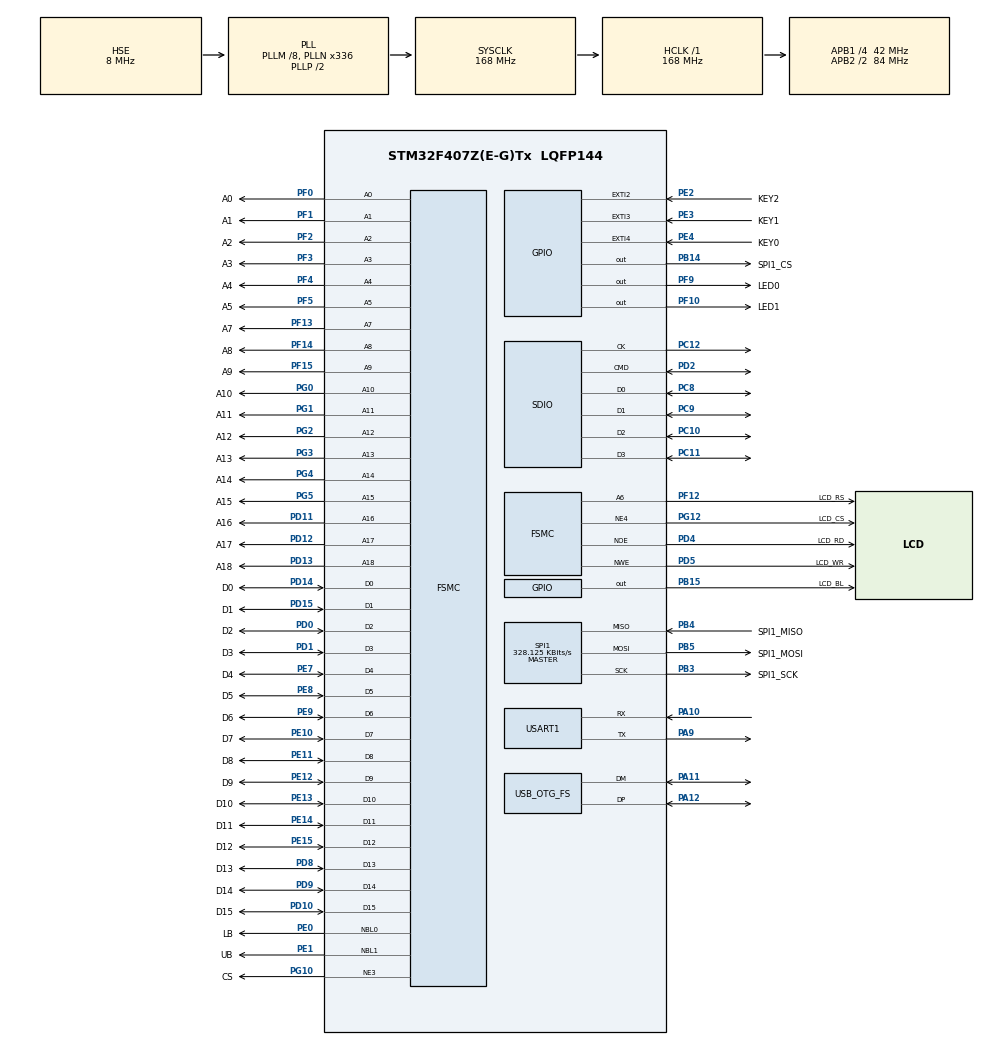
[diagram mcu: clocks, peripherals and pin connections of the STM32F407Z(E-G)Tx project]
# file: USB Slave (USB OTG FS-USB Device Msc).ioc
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Dma.Request0=SDIO_RX
Dma.Request1=SDIO_TX
Dma.SDIO_RX.0.Direction=DMA_PERIPH_TO_MEMORY
Dma.SDIO_RX.0.FIFOMode=DMA_FIFOMODE_ENABLE
Dma.SDIO_RX.0.FIFOThreshold=DMA_FIFO_THRESHOLD_FULL
Dma.SDIO_RX.0.Instance=DMA2_Stream3
Dma.SDIO_RX.0.MemBurst=DMA_MBURST_INC4
Dma.SDIO_RX.0.MemDataAlignment=DMA_MDATAALIGN_BYTE
Dma.SDIO_RX.0.MemInc=DMA_MINC_ENABLE
Dma.SDIO_RX.0.Mode=DMA_PFCTRL
Dma.SDIO_RX.0.PeriphBurst=DMA_PBURST_INC4
Dma.SDIO_RX.0.PeriphDataAlignment=DMA_PDATAALIGN_WORD
Dma.SDIO_RX.0.PeriphInc=DMA_PINC_DISABLE
Dma.SDIO_RX.0.Priority=DMA_PRIORITY_LOW
Dma.SDIO_TX.1.Direction=DMA_MEMORY_TO_PERIPH
Dma.SDIO_TX.1.FIFOMode=DMA_FIFOMODE_ENABLE
Dma.SDIO_TX.1.FIFOThreshold=DMA_FIFO_THRESHOLD_FULL
Dma.SDIO_TX.1.Instance=DMA2_Stream6
Dma.SDIO_TX.1.MemBurst=DMA_MBURST_INC4
Dma.SDIO_TX.1.MemDataAlignment=DMA_MDATAALIGN_BYTE
Dma.SDIO_TX.1.MemInc=DMA_MINC_ENABLE
Dma.SDIO_TX.1.Mode=DMA_PFCTRL
Dma.SDIO_TX.1.PeriphBurst=DMA_PBURST_INC4
Dma.SDIO_TX.1.PeriphDataAlignment=DMA_PDATAALIGN_WORD
Dma.SDIO_TX.1.PeriphInc=DMA_PINC_DISABLE
Dma.SDIO_TX.1.Priority=DMA_PRIORITY_LOW
FSMC.DataSetupTime2=60
FSMC.ExtendedAddressSetupTime2=9
FSMC.ExtendedDataSetupTime2=9
FSMC.ExtendedMode2=FSMC_EXTENDED_MODE_ENABLE
Mcu.Family=STM32F4
Mcu.Name=STM32F407Z(E-G)Tx
Mcu.Package=LQFP144
NVIC.DMA2_Stream3_IRQn=true\:2\:0\:true\:false\:true\:false\:true
NVIC.DMA2_Stream6_IRQn=true\:2\:0\:true\:false\:true\:false\:true
NVIC.EXTI2_IRQn=true\:3\:1\:true\:false\:true\:true\:true
NVIC.EXTI3_IRQn=true\:3\:1\:true\:false\:true\:true\:true
NVIC.EXTI4_IRQn=true\:3\:1\:true\:false\:true\:true\:true
NVIC.OTG_FS_IRQn=true\:3\:0\:true\:false\:true\:true\:true
NVIC.PriorityGroup=NVIC_PRIORITYGROUP_2
NVIC.SDIO_IRQn=true\:1\:0\:true\:false\:true\:true\:true
PA10.Mode=Asynchronous
PA10.Signal=USART1_RX
PA11.Mode=Device_Only
PA11.Signal=USB_OTG_FS_DM
PA12.Mode=Device_Only
PA12.Signal=USB_OTG_FS_DP
PA13.Mode=Serial_Wire
PA13.Signal=SYS_JTMS-SWDIO
PA14.Mode=Serial_Wire
PA14.Signal=SYS_JTCK-SWCLK
PA9.Mode=Asynchronous
PA9.Signal=USART1_TX
PB14.GPIO_Label=SPI1_CS
PB14.GPIO_PuPd=GPIO_PULLUP
PB14.GPIO_Speed=GPIO_SPEED_FREQ_HIGH
PB14.PinState=GPIO_PIN_SET
PB14.Signal=GPIO_Output
PB15.GPIO_Label=LCD_BL
PB15.GPIO_PuPd=GPIO_PULLDOWN
PB15.GPIO_Speed=GPIO_SPEED_FREQ_HIGH
PB15.PinState=GPIO_PIN_SET
PB15.Signal=GPIO_Output
PB3.GPIO_Label=SPI1_SCK
PB3.GPIO_PuPd=GPIO_PULLUP
PB3.Mode=Full_Duplex_Master
PB3.Signal=SPI1_SCK
PB4.GPIO_Label=SPI1_MISO
PB4.GPIO_PuPd=GPIO_PULLUP
PB4.Mode=Full_Duplex_Master
PB4.Signal=SPI1_MISO
PB5.GPIO_Label=SPI1_MOSI
PB5.GPIO_PuPd=GPIO_PULLUP
PB5.Mode=Full_Duplex_Master
PB5.Signal=SPI1_MOSI
PC10.Mode=SD_4_bits_Wide_bus
PC10.Signal=SDIO_D2
PC11.Mode=SD_4_bits_Wide_bus
PC11.Signal=SDIO_D3
PC12.Mode=SD_4_bits_Wide_bus
PC12.Signal=SDIO_CK
PC8.Mode=SD_4_bits_Wide_bus
PC8.Signal=SDIO_D0
PC9.Mode=SD_4_bits_Wide_bus
PC9.Signal=SDIO_D1
PD0.GPIO_Label=D2
PD0.GPIO_PuPd=GPIO_PULLUP
PD0.Signal=FSMC_D2_DA2
PD1.GPIO_Label=D3
PD1.GPIO_PuPd=GPIO_PULLUP
PD1.Signal=FSMC_D3_DA3
PD10.GPIO_Label=D15
PD10.GPIO_PuPd=GPIO_PULLUP
PD10.Signal=FSMC_D15_DA15
PD11.GPIO_Label=A16
PD11.GPIO_PuPd=GPIO_PULLUP
PD11.Signal=FSMC_A16_CLE
PD12.GPIO_Label=A17
PD12.GPIO_PuPd=GPIO_PULLUP
PD12.Signal=FSMC_A17_ALE
PD13.GPIO_Label=A18
PD13.GPIO_PuPd=GPIO_PULLUP
PD13.Signal=FSMC_A18
PD14.GPIO_Label=D0
PD14.GPIO_PuPd=GPIO_PULLUP
PD14.Signal=FSMC_D0_DA0
PD15.GPIO_Label=D1
PD15.GPIO_PuPd=GPIO_PULLUP
PD15.Signal=FSMC_D1_DA1
PD2.Mode=SD_4_bits_Wide_bus
PD2.Signal=SDIO_CMD
PD4.GPIO_Label=LCD_RD
PD4.GPIO_PuPd=GPIO_PULLUP
PD4.Signal=FSMC_NOE
PD5.GPIO_Label=LCD_WR
PD5.GPIO_PuPd=GPIO_PULLUP
PD5.Signal=FSMC_NWE
PD8.GPIO_Label=D13
PD8.GPIO_PuPd=GPIO_PULLUP
PD8.Signal=FSMC_D13_DA13
PD9.GPIO_Label=D14
PD9.GPIO_PuPd=GPIO_PULLUP
PD9.Signal=FSMC_D14_DA14
PE0.GPIO_Label=LB
PE0.GPIO_PuPd=GPIO_PULLUP
PE0.Signal=FSMC_NBL0
PE1.GPIO_Label=UB
PE1.GPIO_PuPd=GPIO_PULLUP
PE1.Signal=FSMC_NBL1
PE10.GPIO_Label=D7
PE10.GPIO_PuPd=GPIO_PULLUP
PE10.Signal=FSMC_D7_DA7
PE11.GPIO_Label=D8
PE11.GPIO_PuPd=GPIO_PULLUP
PE11.Signal=FSMC_D8_DA8
PE12.GPIO_Label=D9
PE12.GPIO_PuPd=GPIO_PULLUP
PE12.Signal=FSMC_D9_DA9
PE13.GPIO_Label=D10
PE13.GPIO_PuPd=GPIO_PULLUP
PE13.Signal=FSMC_D10_DA10
PE14.GPIO_Label=D11
PE14.GPIO_PuPd=GPIO_PULLUP
PE14.Signal=FSMC_D11_DA11
PE15.GPIO_Label=D12
PE15.GPIO_PuPd=GPIO_PULLUP
PE15.Signal=FSMC_D12_DA12
PE2.GPIO_Label=KEY2
PE2.GPIO_ModeDefaultEXTI=GPIO_MODE_IT_FALLING
PE2.GPIO_PuPd=GPIO_PULLUP
PE2.Signal=GPXTI2
PE3.GPIO_Label=KEY1
PE3.GPIO_ModeDefaultEXTI=GPIO_MODE_IT_FALLING
PE3.GPIO_PuPd=GPIO_PULLUP
PE3.Signal=GPXTI3
PE4.GPIO_Label=KEY0
PE4.GPIO_ModeDefaultEXTI=GPIO_MODE_IT_FALLING
PE4.GPIO_PuPd=GPIO_PULLUP
PE4.Signal=GPXTI4
PE7.GPIO_Label=D4
PE7.GPIO_PuPd=GPIO_PULLUP
PE7.Signal=FSMC_D4_DA4
PE8.GPIO_Label=D5
PE8.GPIO_PuPd=GPIO_PULLUP
PE8.Signal=FSMC_D5_DA5
PE9.GPIO_Label=D6
PE9.GPIO_PuPd=GPIO_PULLUP
PE9.Signal=FSMC_D6_DA6
PF0.GPIO_Label=A0
PF0.GPIO_PuPd=GPIO_PULLUP
PF0.Signal=FSMC_A0
PF1.GPIO_Label=A1
PF1.GPIO_PuPd=GPIO_PULLUP
PF1.Signal=FSMC_A1
PF10.GPIO_Label=LED1
PF10.GPIO_PuPd=GPIO_PULLUP
PF10.GPIO_Speed=GPIO_SPEED_FREQ_HIGH
PF10.PinState=GPIO_PIN_SET
PF10.Signal=GPIO_Output
PF12.GPIO_Label=LCD_RS
PF12.GPIO_PuPd=GPIO_PULLUP
PF12.Signal=FSMC_A6
PF13.GPIO_Label=A7
PF13.GPIO_PuPd=GPIO_PULLUP
PF13.Signal=FSMC_A7
PF14.GPIO_Label=A8
PF14.GPIO_PuPd=GPIO_PULLUP
PF14.Signal=FSMC_A8
PF15.GPIO_Label=A9
PF15.GPIO_PuPd=GPIO_PULLUP
PF15.Signal=FSMC_A9
PF2.GPIO_Label=A2
PF2.GPIO_PuPd=GPIO_PULLUP
PF2.Signal=FSMC_A2
PF3.GPIO_Label=A3
PF3.GPIO_PuPd=GPIO_PULLUP
PF3.Signal=FSMC_A3
PF4.GPIO_Label=A4
PF4.GPIO_PuPd=GPIO_PULLUP
PF4.Signal=FSMC_A4
PF5.GPIO_Label=A5
PF5.GPIO_PuPd=GPIO_PULLUP
PF5.Signal=FSMC_A5
PF9.GPIO_Label=LED0
PF9.GPIO_PuPd=GPIO_PULLUP
PF9.GPIO_Speed=GPIO_SPEED_FREQ_HIGH
PF9.PinState=GPIO_PIN_SET
PF9.Signal=GPIO_Output
PG0.GPIO_Label=A10
PG0.GPIO_PuPd=GPIO_PULLUP
PG0.Signal=FSMC_A10
PG1.GPIO_Label=A11
PG1.GPIO_PuPd=GPIO_PULLUP
PG1.Signal=FSMC_A11
PG10.GPIO_Label=CS
PG10.GPIO_PuPd=GPIO_PULLUP
PG10.Mode=NorPsramChipSelect3_1
PG10.Signal=FSMC_NE3
PG12.GPIO_Label=LCD_CS
PG12.GPIO_PuPd=GPIO_PULLUP
PG12.Mode=NorPsramChipSelect4_2
PG12.Signal=FSMC_NE4
PG2.GPIO_Label=A12
PG2.GPIO_PuPd=GPIO_PULLUP
PG2.Signal=FSMC_A12
PG3.GPIO_Label=A13
PG3.GPIO_PuPd=GPIO_PULLUP
PG3.Signal=FSMC_A13
PG4.GPIO_Label=A14
PG4.GPIO_PuPd=GPIO_PULLUP
PG4.Signal=FSMC_A14
PG5.GPIO_Label=A15
PG5.GPIO_PuPd=GPIO_PULLUP
PG5.Signal=FSMC_A15
PH0-OSC_IN.Mode=HSE-External-Oscillator
PH0-OSC_IN.Signal=RCC_OSC_IN
PH1-OSC_OUT.Mode=HSE-External-Oscillator
PH1-OSC_OUT.Signal=RCC_OSC_OUT
ProjectManager.HeapSize=0x200
ProjectManager.StackSize=0x400
ProjectManager.TargetToolchain=MDK-ARM V5
RCC.48MHZClocksFreq_Value=48000000
RCC.AHBFreq_Value=168000000
RCC.APB1CLKDivider=RCC_HCLK_DIV4
RCC.APB1Freq_Value=42000000
RCC.APB1TimFreq_Value=84000000
RCC.APB2CLKDivider=RCC_HCLK_DIV2
RCC.APB2Freq_Value=84000000
RCC.APB2TimFreq_Value=168000000
RCC.CortexFreq_Value=168000000
RCC.HCLKFreq_Value=168000000
RCC.HSE_VALUE=8000000
RCC.HSI_VALUE=16000000
RCC.LSE_VALUE=32768
RCC.PLLM=8
RCC.PLLN=336
RCC.PLLQ=7
RCC.SYSCLKFreq_VALUE=168000000
RCC.SYSCLKSource=RCC_SYSCLKSOURCE_PLLCLK
RCC.VCOOutputFreq_Value=336000000
SH.FSMC_A0.0=FSMC_A0,19b-a1
SH.FSMC_A1.0=FSMC_A1,19b-a1
SH.FSMC_A10.0=FSMC_A10,19b-a1
SH.FSMC_A11.0=FSMC_A11,19b-a1
SH.FSMC_A12.0=FSMC_A12,19b-a1
SH.FSMC_A13.0=FSMC_A13,19b-a1
SH.FSMC_A14.0=FSMC_A14,19b-a1
SH.FSMC_A15.0=FSMC_A15,19b-a1
SH.FSMC_A16_CLE.0=FSMC_A16,19b-a1
SH.FSMC_A17_ALE.0=FSMC_A17,19b-a1
SH.FSMC_A18.0=FSMC_A18,19b-a1
SH.FSMC_A2.0=FSMC_A2,19b-a1
SH.FSMC_A3.0=FSMC_A3,19b-a1
SH.FSMC_A4.0=FSMC_A4,19b-a1
SH.FSMC_A5.0=FSMC_A5,19b-a1
SH.FSMC_A6.0=FSMC_A6,A6_2
SH.FSMC_A6.1=FSMC_A6,19b-a1
SH.FSMC_A7.0=FSMC_A7,19b-a1
SH.FSMC_A8.0=FSMC_A8,19b-a1
SH.FSMC_A9.0=FSMC_A9,19b-a1
SH.FSMC_D0_DA0.0=FSMC_D0,16b-d2
SH.FSMC_D0_DA0.1=FSMC_D0,16b-d1
SH.FSMC_D10_DA10.0=FSMC_D10,16b-d2
SH.FSMC_D10_DA10.1=FSMC_D10,16b-d1
SH.FSMC_D11_DA11.0=FSMC_D11,16b-d2
SH.FSMC_D11_DA11.1=FSMC_D11,16b-d1
SH.FSMC_D12_DA12.0=FSMC_D12,16b-d2
SH.FSMC_D12_DA12.1=FSMC_D12,16b-d1
SH.FSMC_D13_DA13.0=FSMC_D13,16b-d2
SH.FSMC_D13_DA13.1=FSMC_D13,16b-d1
SH.FSMC_D14_DA14.0=FSMC_D14,16b-d2
SH.FSMC_D14_DA14.1=FSMC_D14,16b-d1
SH.FSMC_D15_DA15.0=FSMC_D15,16b-d2
SH.FSMC_D15_DA15.1=FSMC_D15,16b-d1
SH.FSMC_D1_DA1.0=FSMC_D1,16b-d2
SH.FSMC_D1_DA1.1=FSMC_D1,16b-d1
SH.FSMC_D2_DA2.0=FSMC_D2,16b-d2
SH.FSMC_D2_DA2.1=FSMC_D2,16b-d1
SH.FSMC_D3_DA3.0=FSMC_D3,16b-d2
SH.FSMC_D3_DA3.1=FSMC_D3,16b-d1
SH.FSMC_D4_DA4.0=FSMC_D4,16b-d2
SH.FSMC_D4_DA4.1=FSMC_D4,16b-d1
SH.FSMC_D5_DA5.0=FSMC_D5,16b-d2
SH.FSMC_D5_DA5.1=FSMC_D5,16b-d1
SH.FSMC_D6_DA6.0=FSMC_D6,16b-d2
SH.FSMC_D6_DA6.1=FSMC_D6,16b-d1
SH.FSMC_D7_DA7.0=FSMC_D7,16b-d2
SH.FSMC_D7_DA7.1=FSMC_D7,16b-d1
SH.FSMC_D8_DA8.0=FSMC_D8,16b-d2
SH.FSMC_D8_DA8.1=FSMC_D8,16b-d1
SH.FSMC_D9_DA9.0=FSMC_D9,16b-d2
SH.FSMC_D9_DA9.1=FSMC_D9,16b-d1
SH.FSMC_NBL0.0=FSMC_NBL0,2ByteEnable1
SH.FSMC_NBL1.0=FSMC_NBL1,2ByteEnable1
SH.FSMC_NOE.0=FSMC_NOE,Lcd2
SH.FSMC_NOE.1=FSMC_NOE,Sram1
SH.FSMC_NWE.0=FSMC_NWE,Lcd2
SH.FSMC_NWE.1=FSMC_NWE,Sram1
SPI1.BaudRatePrescaler=SPI_BAUDRATEPRESCALER_256
SPI1.CLKPhase=SPI_PHASE_2EDGE
SPI1.CLKPolarity=SPI_POLARITY_HIGH
SPI1.CalculateBaudRate=328.125 KBits/s
SPI1.Direction=SPI_DIRECTION_2LINES
SPI1.Mode=SPI_MODE_MASTER
SPI1.VirtualType=VM_MASTER
USART1.VirtualMode=VM_ASYNC
USB_OTG_FS.VirtualMode=Device_Only
board=custom

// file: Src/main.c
/* USER CODE BEGIN Header */
/**
  ******************************************************************************
  * @file           : main.c
  * @brief          : Main program body
  ******************************************************************************
  * @attention
  *
  * <h2><center>&copy; Copyright (c) 2024 STMicroelectronics.
  * All rights reserved.</center></h2>
  *
  * This software component is licensed by ST under BSD 3-Clause license,
  * the "License"; You may not use this file except in compliance with the
  * License. You may obtain a copy of the License at:
  *                        opensource.org/licenses/BSD-3-Clause
  *
  ******************************************************************************
  */
/* USER CODE END Header */

#include "main.h"
#include "dma.h"
#include "sdio.h"
#include "spi.h"
#include "usart.h"
#include "usb_otg.h"
#include "gpio.h"
#include "fsmc.h"

/* USER CODE BEGIN Includes */
#include "delay.h"
#include "lcd.h"
#include "norflash.h"  //norflash_init norflash_read_id
#include "exti.h"

#include "sdio_sdcard.h"
#include "sram.h"
#include "mymalloc.h"  //my_mem_init

#include "usbd_storage.h"  //USBD_DISK_fops  (USBD_Storage_Interface_fops_FS)
#include "usbd_core.h"  //USBD_Init USBD_RegisterClass USBD_MSC_RegisterStorage USBD_Start
#include "usbd_desc.h"  //MSC_Desc
#include "usbd_msc.h"  //USBD_MSC
/* USER CODE END Includes */

/* USER CODE BEGIN PV */
uint8_t lcd_id[12];
uint16_t colors[12] = {WHITE, BLACK, BLUE, RED, MAGENTA, GREEN, CYAN, YELLOW, BRRED, GRAY, LGRAY, BROWN};uint8_t color_index = 0;
uint8_t cur_brightness;
uint8_t* str[23];

HAL_SD_CardInfoTypeDef  g_sd_card_info_handle;   /* SD卡信息结构体 */
uint64_t card_capacity;             /* SD卡容量 */

USBD_HandleTypeDef USBD_Device;             /* USB Device处理结构体 */
extern volatile uint8_t g_usb_state_reg;    /* USB状态 */
extern volatile uint8_t g_device_state;     /* USB连接 情况 */
uint8_t usb_sta;  //usb状态
uint8_t offline_cnt = 0;
uint8_t tct = 0;
uint8_t device_sta;  //设备状态
/* USER CODE END PV */

void SystemClock_Config(void);

int main(void)
{

  /* MCU Configuration--------------------------------------------------------*/

  /* Reset of all peripherals, Initializes the Flash interface and the Systick. */
  HAL_Init();

  /* Configure the system clock */
  SystemClock_Config();

  /* Initialize all configured peripherals */
  MX_GPIO_Init();
  MX_DMA_Init();
  MX_USART1_UART_Init();
  MX_FSMC_Init();
  MX_SDIO_SD_Init();
  MX_SPI1_Init();
  MX_USB_OTG_FS_PCD_Init();
  /* USER CODE BEGIN 2 */
	delay_init(168);  //初始化自定义延时(无中断)
	lcd_init();                             /* 初始化LCD */
  g_point_color = RED;
  sprintf((char *)lcd_id, "LCD ID:%04X", lcddev.id);  /* 将LCD ID打印到lcd_id数组 */
	//HAL_GPIO_WritePin(LED1_GPIO_Port, LED1_Pin, GPIO_PIN_RESET);  //LED1亮
	lcd_set_backlight_by_pwm(0xFF); // 设置占空比为255,开启背光最亮

	cur_brightness = lcd_get_backlight_by_pwm(); //获取当前背光值
	sprintf((char*)str, "current brightness:%3u", cur_brightness);

	lcd_clear(colors[color_index]);  //清屏
	lcd_show_string(10, 40, 240, 32, 32, "STM32", RED);
	lcd_show_string(10, 80, 240, 24, 24, "TFTLCD TEST", RED);
	lcd_show_string(10, 110, 240, 16, 16, "ATOM@ALIENTEK", RED);
	lcd_show_string(10, 130, 240, 16, 16, (char *)lcd_id, RED); /* 显示LCD ID */
	lcd_show_string(10, 150, 240, 16, 16, (char *)str, RED); /* 显示亮度 */
	lcd_show_string(10, 170, 200, 16, 16, "KEY0:Test SD!", RED);
	lcd_show_string(10, 190, 200, 16, 16, "KEY1:Test norflash!", RED);
	lcd_show_string(10, 210, 200, 16, 16, "KEY2:Test SRAM!", RED);

	norflash_init();  //初始化norflash
	uint16_t id = norflash_read_id();
	printf("norflash id is %d\n", id);
	sprintf((char *)datatemp, "%s", (char *)g_text_buf);
	while ((id == 0) || (id == 0xFFFF)) /* 检测不到FLASH芯片 */ {
		printf("FLASH Check Failed!\n");
		HAL_Delay(500);
		printf("Please Check! \n");
		HAL_Delay(500);
		lcd_show_string(30, 330, 200, 16, 16, "SPI FLASH Error!", RED); /* 检测SPI FLASH错误 */
	}
	lcd_show_string(30, 330, 200, 16, 16, "SPI FLASH Size:12MB", RED);
	printf("SPI FLASH Size:12MB\n");
	//sd初始化
	if (sd_init()){  /* 初始化SD卡 */
			lcd_show_string(30, 350, 200, 16, 16, "SD Card Error!", RED);           /* 检测SD卡错误 */
	}	else {            /* SD 卡正常 */
			lcd_show_string(30, 350, 200, 16, 16, "SD Card Size:     MB", RED);
			card_capacity = (uint64_t)(g_sd_card_info_handle.LogBlockNbr) * (uint64_t)(g_sd_card_info_handle.LogBlockSize);     /* 计算SD卡容量 */
			lcd_show_num(134, 350, card_capacity >> 20, 5, 16, RED);                /* 显示SD卡容量 */
	}
	/*
	printf("SDIO test!\n");
	HAL_SD_GetCardInfo(&hsd, &g_sd_card_info_handle);  //初始化完成后获取sd卡信息
	printf("CardType:%u\n", g_sd_card_info_handle.CardType);  //卡类型
	printf("CardVersion:%u\n", g_sd_card_info_handle.CardVersion);  //卡版本
	printf("Class:%u\n", g_sd_card_info_handle.Class);  //卡类型
	printf("BlockSize:%u\n", g_sd_card_info_handle.BlockSize);  //块大小
	printf("LogBlockNbr:%u\n", g_sd_card_info_handle.LogBlockNbr);  //以块为单位的卡的逻辑容量
	printf("LogBlockSize:%u\n", g_sd_card_info_handle.LogBlockSize);  //指定逻辑块大小（以字节为单位）
	*/
	/*
	4G的SD card其g_sd_card_info_handle.BlockSize和g_sd_card_info_handle.LogBlockSize都是512但是g_sd_card_info_handle.BlockNbr值是7626752

	正常计算4G/512Bytes=4*1024*1024*1024/512Bytes = 8388608，按理来说g_sd_card_info_handle.BlockNbr不应该是8192吗

	按存储厂尿性：4G/512Bytes=4*1000*1000*1000/512Bytes = 7812500，除去文件系统和保留块，就剩7626752
	*/

	sram_init();                        /* SRAM初始化 */

	my_mem_init(SRAMIN);                /* 初始化内部SRAM内存池 */
	my_mem_init(SRAMEX);                /* 初始化外部SRAM内存池 */
	my_mem_init(SRAMCCM);               /* 初始化内部CCM内存池 */

	USBD_Init(&USBD_Device, &MSC_Desc, DEVICE_FS);       /* 初始化USB */
	USBD_RegisterClass(&USBD_Device, &USBD_MSC);        /* 添加类 */
	USBD_MSC_RegisterStorage(&USBD_Device, &USBD_DISK_fops);    /* 为MSC类添加回调函数 */
	//USBD_StatusTypeDef status = USBD_Start(&USBD_Device);
	USBD_Start(&USBD_Device);                           /* 开启USB */
	//printf("USBD_Start returned: %d\n", status);

	delay_ms(1800);
  /* USER CODE END 2 */

  /* Infinite loop */
  /* USER CODE BEGIN WHILE */
  while (1)
  {
		HAL_GPIO_TogglePin(LED0_GPIO_Port, LED0_Pin); /* LED0闪烁 */
		HAL_Delay(300);
    /* USER CODE END WHILE */

  }
}

void SystemClock_Config(void)
{
  RCC_OscInitTypeDef RCC_OscInitStruct = {0};
  RCC_ClkInitTypeDef RCC_ClkInitStruct = {0};

  /** Configure the main internal regulator output voltage
  */
  __HAL_RCC_PWR_CLK_ENABLE();
  __HAL_PWR_VOLTAGESCALING_CONFIG(PWR_REGULATOR_VOLTAGE_SCALE1);
  /** Initializes the CPU, AHB and APB busses clocks
  */
  RCC_OscInitStruct.OscillatorType = RCC_OSCILLATORTYPE_HSE;
  RCC_OscInitStruct.HSEState = RCC_HSE_ON;
  RCC_OscInitStruct.PLL.PLLState = RCC_PLL_ON;
  RCC_OscInitStruct.PLL.PLLSource = RCC_PLLSOURCE_HSE;
  RCC_OscInitStruct.PLL.PLLM = 8;
  RCC_OscInitStruct.PLL.PLLN = 336;
  RCC_OscInitStruct.PLL.PLLP = RCC_PLLP_DIV2;
  RCC_OscInitStruct.PLL.PLLQ = 7;
  if (HAL_RCC_OscConfig(&RCC_OscInitStruct) != HAL_OK)
  {
    Error_Handler();
  }
  /** Initializes the CPU, AHB and APB busses clocks
  */
  RCC_ClkInitStruct.ClockType = RCC_CLOCKTYPE_HCLK|RCC_CLOCKTYPE_SYSCLK
                              |RCC_CLOCKTYPE_PCLK1|RCC_CLOCKTYPE_PCLK2;
  RCC_ClkInitStruct.SYSCLKSource = RCC_SYSCLKSOURCE_PLLCLK;
  RCC_ClkInitStruct.AHBCLKDivider = RCC_SYSCLK_DIV1;
  RCC_ClkInitStruct.APB1CLKDivider = RCC_HCLK_DIV4;
  RCC_ClkInitStruct.APB2CLKDivider = RCC_HCLK_DIV2;

  if (HAL_RCC_ClockConfig(&RCC_ClkInitStruct, FLASH_LATENCY_5) != HAL_OK)
  {
    Error_Handler();
  }
}

void Error_Handler(void)
{
}

/************************ (C) COPYRIGHT STMicroelectronics *****END OF FILE****/
